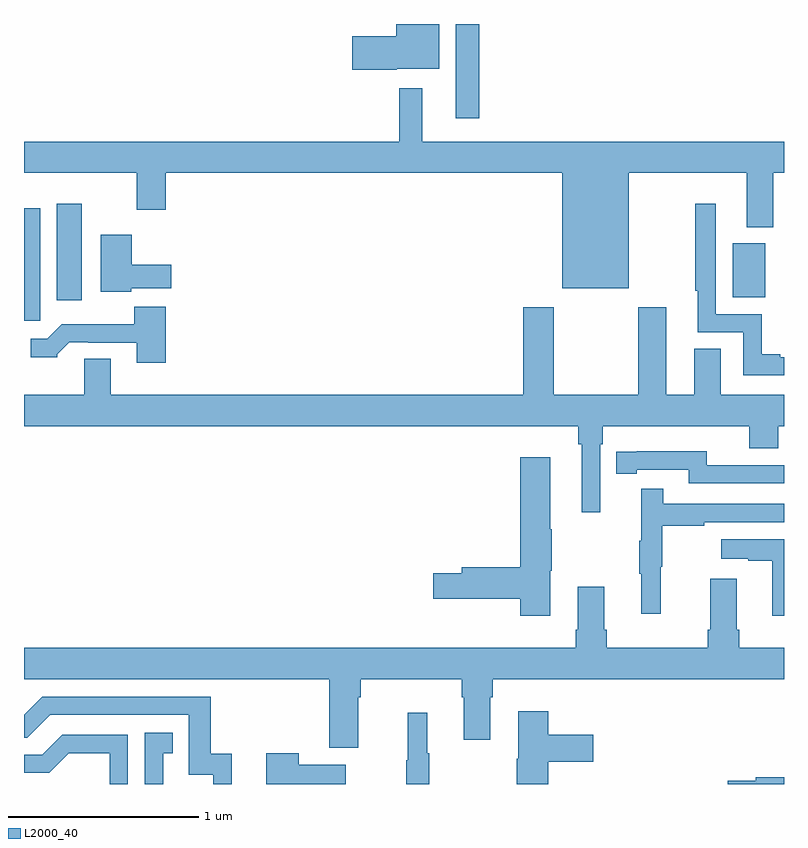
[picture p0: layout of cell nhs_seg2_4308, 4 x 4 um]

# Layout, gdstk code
import gdstk
lib = gdstk.Library(unit=1e-6, precision=1e-09)
def R(c, l, rs):  # rectangles x0, y0, x1, y1
    for r in rs: c.add(gdstk.rectangle(r[:2], r[2:], *l))
def P(c, l, *ps):  # polygons
    for p in ps: c.add(gdstk.Polygon(p, *l))
L2000_40 = (2000, 40)

nhs_seg2_4308 = lib.new_cell('nhs_seg2_4308')
R(nhs_seg2_4308, L2000_40, [(345,600.237,345.085,600.829), (345.173,600.345,345.304,600.853), (348.731,600.362,348.901,600.646), (347.273,601.305,347.395,601.8)])
P(nhs_seg2_4308, L2000_40, [(346.962,601.565),(347.185,601.565),(347.185,601.8),(346.958,601.8),(346.958,601.736),(346.728,601.736),(346.728,601.558),(346.962,601.558)],
  [(348.184,601.016),(348.803,601.016),(348.803,600.731),(348.943,600.731),(348.943,601.016),(349,601.016),(349,601.18),(347.095,601.18),(347.095,601.462),(346.974,601.462),(346.974,601.18),(345,601.18),(345,601.016),(345.593,601.016),(345.593,600.822),(345.746,600.822),(345.746,601.016),(347.834,601.016),(347.834,600.41),(348.184,600.41)],
  [(349,600.046),(348.979,600.046),(348.979,600.061),(348.884,600.061),(348.884,600.273),(348.642,600.273),(348.642,600.853),(348.534,600.853),(348.534,600.397),(348.545,600.397),(348.545,600.177),(348.786,600.177),(348.786,599.952),(349,599.952)],
  [(345.564,600.41),(345.775,600.41),(345.775,600.532),(345.568,600.532),(345.568,600.691),(345.404,600.691),(345.404,600.392),(345.564,600.392)],
  [(345.746,600.313),(345.581,600.313),(345.581,600.22),(345.199,600.22),(345.123,600.144),(345.035,600.144),(345.035,600.047),(345.174,600.047),(345.174,600.062),(345.238,600.126),(345.337,600.126),(345.337,600.123),(345.593,600.123),(345.593,600.018),(345.746,600.018)],
  [(348.033,599.588),(348.047,599.588),(348.047,599.684),(348.818,599.684),(348.818,599.567),(348.971,599.567),(348.971,599.684),(349,599.684),(349,599.848),(348.667,599.848),(348.667,600.092),(348.527,600.092),(348.527,599.848),(348.379,599.848),(348.379,600.31),(348.232,600.31),(348.232,599.848),(347.787,599.848),(347.787,600.31),(347.627,600.31),(347.627,599.848),(345.457,599.848),(345.457,600.038),(345.317,600.038),(345.317,599.848),(345,599.848),(345,599.684),(347.917,599.684),(347.917,599.588),(347.936,599.588),(347.936,599.229),(348.033,599.229)],
  [(349,599.478),(348.594,599.478),(348.594,599.551),(348.226,599.551),(348.226,599.55),(348.118,599.55),(348.118,599.434),(348.226,599.434),(348.226,599.454),(348.498,599.454),(348.498,599.382),(349,599.382)],
  [(347.77,598.923),(347.778,598.923),(347.778,599.141),(347.77,599.141),(347.77,599.521),(347.612,599.521),(347.612,598.94),(347.303,598.94),(347.303,598.91),(347.154,598.91),(347.154,598.775),(347.612,598.775),(347.612,598.686),(347.77,598.686)],
  [(348.35,598.944),(348.358,598.944),(348.358,599.158),(348.581,599.158),(348.581,599.178),(349,599.178),(349,599.274),(348.365,599.274),(348.365,599.353),(348.248,599.353),(348.248,599.081),(348.237,599.081),(348.237,598.907),(348.248,598.907),(348.248,598.695),(348.35,598.695)],
  [(349,599.089),(348.669,599.089),(348.669,598.985),(348.812,598.985),(348.812,598.975),(348.938,598.975),(348.938,598.686),(349,598.686)],
  [(346.759,598.256),(346.772,598.256),(346.772,598.352),(347.303,598.352),(347.303,598.256),(347.315,598.256),(347.315,598.032),(347.455,598.032),(347.455,598.256),(347.468,598.256),(347.468,598.352),(349,598.352),(349,598.516),(348.764,598.516),(348.764,598.612),(348.751,598.612),(348.751,598.879),(348.611,598.879),(348.611,598.612),(348.599,598.612),(348.599,598.516),(348.068,598.516),(348.068,598.612),(348.055,598.612),(348.055,598.837),(347.915,598.837),(347.915,598.612),(347.903,598.612),(347.903,598.516),(345,598.516),(345,598.352),(346.607,598.352),(346.607,597.99),(346.759,597.99)],
  [(346.094,597.958),(345.983,597.958),(345.983,598.26),(345.096,598.26),(345,598.164),(345,598.044),(345.018,598.044),(345.138,598.164),(345.867,598.164),(345.867,597.849),(345.996,597.849),(345.996,597.8),(346.094,597.8)],
  [(347.759,597.917),(347.995,597.917),(347.995,598.059),(347.759,598.059),(347.759,598.183),(347.6,598.183),(347.6,597.933),(347.593,597.933),(347.593,597.8),(347.759,597.8)],
  [(347.134,597.961),(347.123,597.961),(347.123,598.174),(347.02,598.174),(347.02,597.924),(347.013,597.924),(347.013,597.8),(347.134,597.8)],
  [(345.733,597.963),(345.782,597.963),(345.782,598.069),(345.636,598.069),(345.636,597.8),(345.733,597.8)],
  [(345.546,598.059),(345.2,598.059),(345.095,597.954),(345,597.954),(345,597.858),(345.132,597.858),(345.236,597.962),(345.45,597.962),(345.45,597.8),(345.546,597.8)],
  [(346.693,597.901),(346.445,597.901),(346.445,597.961),(346.274,597.961),(346.274,597.8),(346.693,597.8)],
  [(349,597.836),(348.85,597.836),(348.85,597.816),(348.704,597.816),(348.704,597.8),(349,597.8)])

lib.write_gds('nhs_seg2_4308.gds')
